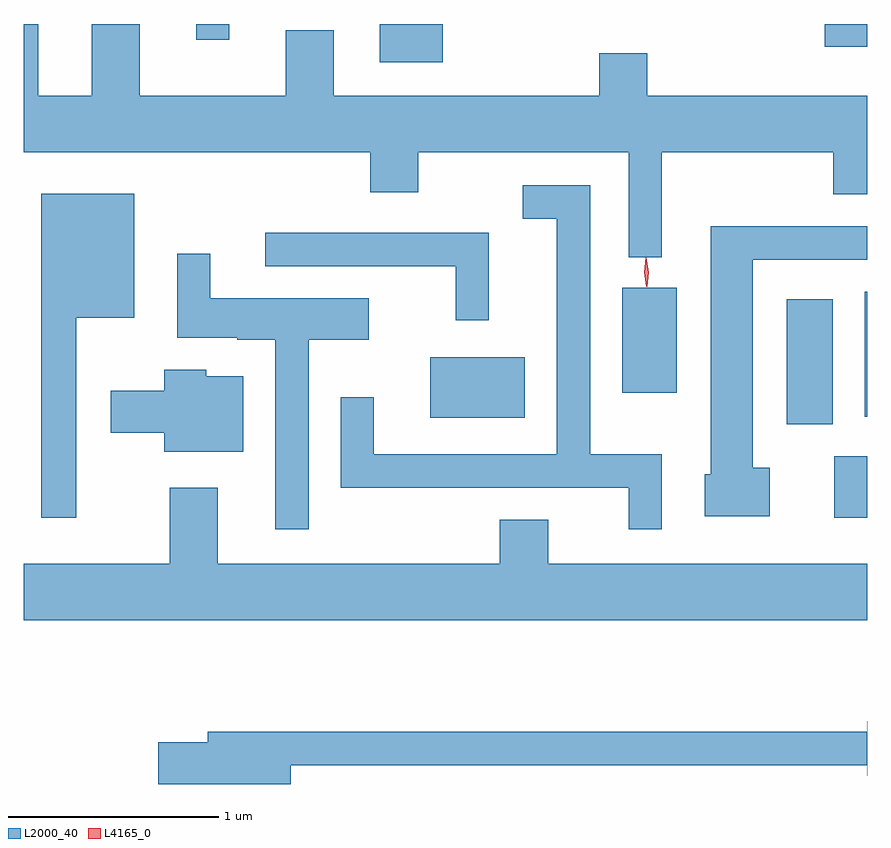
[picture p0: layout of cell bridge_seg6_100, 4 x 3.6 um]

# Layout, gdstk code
import gdstk
lib = gdstk.Library(unit=1e-6, precision=1e-09)
def R(c, l, rs):  # rectangles x0, y0, x1, y1
    for r in rs: c.add(gdstk.rectangle(r[:2], r[2:], *l))
def P(c, l, *ps):  # polygons
    for p in ps: c.add(gdstk.Polygon(p, *l))
L2000_40 = (2000, 40)
L4165_0 = (4165, 0)

bridge_seg6_100 = lib.new_cell('bridge_seg6_100')
R(bridge_seg6_100, L2000_40, [(1110.171,1637.103,1110.328,1637.394), (1109.946,1637.546,1110.164,1638.139), (1108.256,1637.576,1108.704,1637.864), (1110.316,1637.581,1110.328,1638.174), (1109.166,1637.696,1109.424,1638.194), (1108.016,1639.261,1108.314,1639.443), (1110.126,1639.336,1110.328,1639.443), (1107.146,1639.368,1107.304,1639.443)])
P(bridge_seg6_100, L2000_40, [(1109.354,1638.836),(1110.166,1638.836),(1110.166,1638.636),(1110.328,1638.636),(1110.328,1639.104),(1109.284,1639.104),(1109.284,1639.304),(1109.056,1639.304),(1109.056,1639.104),(1107.799,1639.104),(1107.799,1639.414),(1107.571,1639.414),(1107.571,1639.104),(1106.879,1639.104),(1106.879,1639.443),(1106.651,1639.443),(1106.651,1639.104),(1106.399,1639.104),(1106.399,1639.443),(1106.328,1639.443),(1106.328,1638.836),(1107.971,1638.836),(1107.971,1638.646),(1108.199,1638.646),(1108.199,1638.836),(1109.196,1638.836),(1109.196,1638.338),(1109.354,1638.338)],
  [(1109.354,1637.404),(1109.014,1637.404),(1109.014,1638.679),(1108.693,1638.679),(1108.693,1638.521),(1108.856,1638.521),(1108.856,1637.404),(1107.989,1637.404),(1107.989,1637.673),(1107.831,1637.673),(1107.831,1637.246),(1109.196,1637.246),(1109.196,1637.048),(1109.354,1637.048)],
  [(1106.579,1638.051),(1106.854,1638.051),(1106.854,1638.639),(1106.411,1638.639),(1106.411,1637.103),(1106.579,1637.103)],
  [(1109.864,1637.339),(1109.784,1637.339),(1109.784,1638.326),(1110.328,1638.326),(1110.328,1638.484),(1109.586,1638.484),(1109.586,1637.309),(1109.556,1637.309),(1109.556,1637.111),(1109.864,1637.111)],
  [(1108.534,1638.454),(1107.473,1638.454),(1107.473,1638.296),(1108.376,1638.296),(1108.376,1638.038),(1108.534,1638.038)],
  [(1107.679,1637.946),(1107.964,1637.946),(1107.964,1638.144),(1107.214,1638.144),(1107.214,1638.353),(1107.056,1638.353),(1107.056,1637.956),(1107.34,1637.956),(1107.34,1637.946),(1107.521,1637.946),(1107.521,1637.048),(1107.679,1637.048)],
  [(1107.369,1637.774),(1107.194,1637.774),(1107.194,1637.804),(1106.996,1637.804),(1106.996,1637.704),(1106.741,1637.704),(1106.741,1637.506),(1106.996,1637.506),(1106.996,1637.416),(1107.369,1637.416)],
  [(1110.328,1636.884),(1108.814,1636.884),(1108.814,1637.094),(1108.586,1637.094),(1108.586,1636.884),(1107.249,1636.884),(1107.249,1637.244),(1107.021,1637.244),(1107.021,1636.884),(1106.328,1636.884),(1106.328,1636.616),(1110.328,1636.616)],
  [(1107.594,1635.931),(1110.326,1635.931),(1110.326,1635.881),(1110.328,1635.881),(1110.328,1636.139),(1110.326,1636.139),(1110.326,1636.089),(1107.201,1636.089),(1107.201,1636.039),(1106.966,1636.039),(1106.966,1635.841),(1107.594,1635.841)])
P(bridge_seg6_100, L4165_0, [(1109.283,1638.198),(1109.283,1638.198),(1109.271,1638.266),(1109.278,1638.335),(1109.279,1638.336),(1109.28,1638.335),(1109.291,1638.267),(1109.284,1638.198)],
  [(1109.279,1638.2),(1109.279,1638.201),(1109.269,1638.266),(1109.279,1638.332),(1109.279,1638.332),(1109.28,1638.332),(1109.289,1638.266),(1109.28,1638.201)])

lib.write_gds('bridge_seg6_100.gds')
